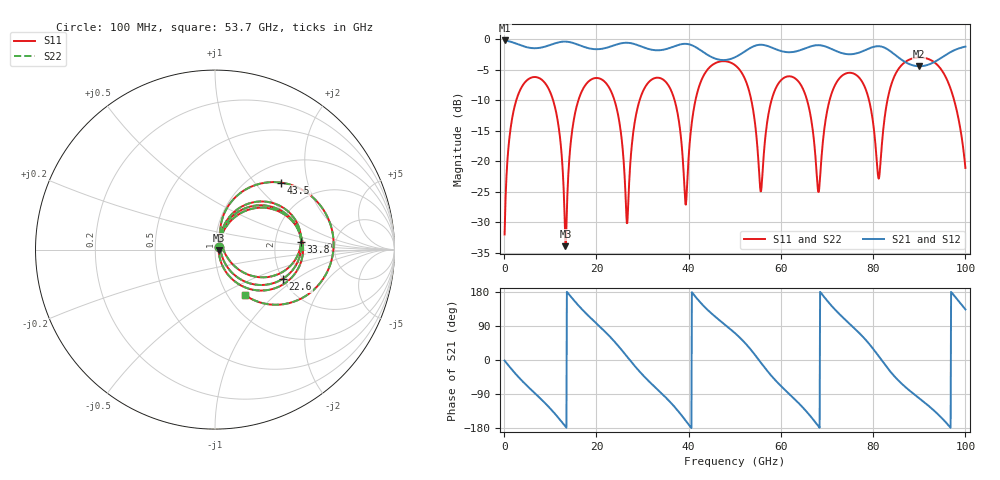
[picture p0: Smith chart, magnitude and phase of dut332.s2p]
! Touchstone file exported from HFSS 2026.1.0
!  File:  C:/ffzhzh/LocalFiles/Ansys_Project_Files/temp_train_TSV_RDL_332_1783704503_45496.aedt
!  Generated:  01:53:00 AM Jul 11, 2026
!  Design:  TSV_RDL
!  Project:  temp_train_TSV_RDL_332_1783704503_45496
! Variables:
!  h_bsmrdl = 4.5um
!  h_ox = 20um
!  h_rdl = 5um
!  h_sub = 73.48um
!  h_tmrdl = 2.25um
!  h_tsv = 73.48um
!  h_via = 3um
!  l_bsmrdl = 531.17um
!  l_sub = 4516.76um
!  l_tmrdl = 587.95um
!  m_sub = 200um
!  pitch = 53.34um
!  r_tsv = 6.6um
!  s_tmrdl = 10um
!  w_bsmrdl = 29.2um
!  w_sub = 500um
!  w_tmrdl = 27.95um
!  x_tsv_center1 = 601.925um
!  x_tsv_center2 = 1162.295um
!  x_tsv_center3 = 1778.195um
!  x_tsv_center4 = 2338.565um
!  x_tsv_center5 = 2954.465um
!  x_tsv_center6 = 3514.835um
# GHz S MA R 50.000000
! Terminal data exported
! Port[1] = TM_RDL1_1_T1
! Port[2] = TM_RDL5_1_T1
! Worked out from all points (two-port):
!   1000 points, 100 MHz to 100 GHz, reference 50 ohm
!   highest |S21| = -0.18 dB at 100 MHz (marker M1); lowest = -4.4 dB at 90 GHz (marker M2)
!   |S21| within 3 dB of the highest: start of sweep to 45.85 GHz; 49.27 GHz to 85.86 GHz (36.59 GHz wide, 54.2 % of centre) (the widest 2 of 3)
!   lowest |S11| = -34.0 dB at 13.3 GHz (marker M3), VSWR 1.04, Z = 52 - j0.314 ohm
!   |S11| at or under -10 dB: 10.62 GHz to 16.09 GHz (5.476 GHz wide, 41 % of centre); 23.92 GHz to 29.37 GHz (5.451 GHz wide, 20.5 % of centre); 65.68 GHz to 70.55 GHz (4.872 GHz wide, 7.15 % of centre) (the widest 3 of 8)
!   |S22| runs from -33.9 to -3.0 dB; largest |S21 - S12| = 1e-12
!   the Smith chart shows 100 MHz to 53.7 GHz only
!   S11 on the Smith chart (normalised r, x): 100 MHz: 1.04, +0.03; 22.6 GHz: 2.01, -0.79; 33.8 GHz: 2.81, +0.33; 43.5 GHz: 1.35, +1.39; 53.7 GHz: 1.20, -0.66
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0.1  0.02504 35.6  0.98 -1.6  0.98 -1.6  0.02504 35.6
! Gamma 0 0 0 0
! Port Impedance 50 0 50 0
2.1  0.2645 53.0  0.938 -31.3  0.938 -31.3  0.2645 53.0
6.5  0.4908 2.1  0.8463 -85.9  0.8463 -85.9  0.4908 2.1
13.3  0.02005 -8.6  0.9588 -175.5  0.9588 -175.5  0.02025 -8.5
16.8  0.3721 41.4  0.8819 134.8  0.8819 134.8  0.3721 41.3
22.6  0.4115 -23.3  0.8623 65.8  0.8623 65.8  0.4116 -23.3
26.7  0.03104 19.3  0.9379 8.1  0.9379 8.1  0.03081 19.4
33.4  0.4845 9.6  0.8137 -79.7  0.8137 -79.7  0.4845 9.6
33.8  0.4812 5.3  0.8152 -84.3  0.8152 -84.3  0.4812 5.4
39.4  0.04395 25.2  0.9193 -160.7  0.9193 -160.7  0.04467 25.1
43.5  0.5245 45.4  0.7719 139.6  0.7719 139.6  0.5245 45.4
50.1  0.6126 -18.1  0.7146 70.4  0.7146 70.4  0.6126 -18.1
53.7  0.3021 -56.6  0.8634 24.0  0.8634 24.0  0.3022 -56.5
55.7  0.05668 1.2  0.9038 -7.6  0.9038 -7.6  0.05691 1.1
59.6  0.4418 22.6  0.8116 -63.5  0.8116 -63.5  0.4418 22.6
66.7  0.2051 -49.0  0.8812 -152.5  0.8812 -152.5  0.2052 -48.8
68.2  0.05586 10.3  0.8962 -175.6  0.8962 -175.6  0.0566 10.3
75.5  0.5283 -0.9  0.7566 88.7  0.7566 88.7  0.5284 -0.9
81.2  0.07189 7.3  0.8792 9.9  0.8792 9.9  0.07244 7.2
83.4  0.3589 52.6  0.8162 -25.6  0.8162 -25.6  0.359 52.5
90  0.7108 -11.2  0.6018 -101.2  0.6018 -101.2  0.7109 -11.2
100  0.088 -101.4  0.8731 133.5  0.8731 133.5  0.08851 -101.1
